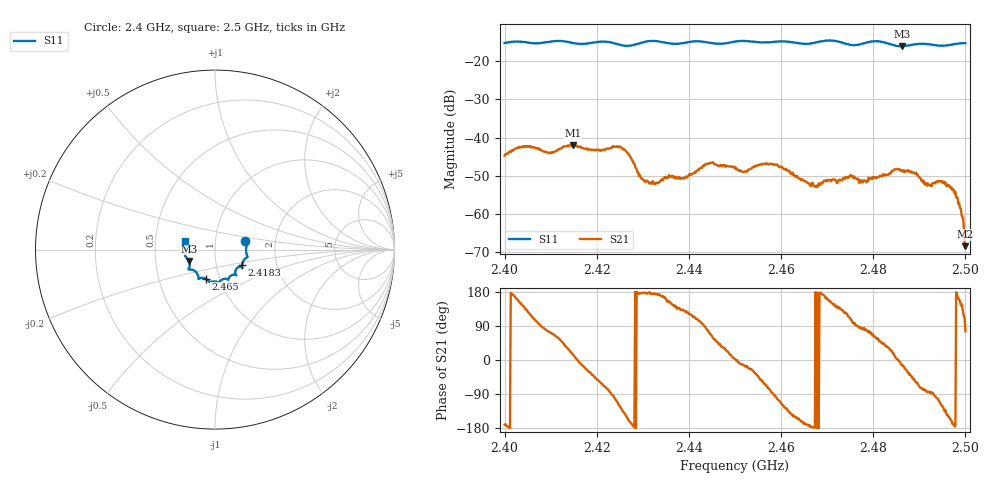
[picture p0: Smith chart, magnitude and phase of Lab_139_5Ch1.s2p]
# Hz S RI R 50
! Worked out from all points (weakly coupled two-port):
!   601 points, 2.4 GHz to 2.5 GHz, reference 50 ohm
!   highest |S21| = -41.96 dB at 2.4148 GHz (marker M1); lowest = -68.6 dB at 2.5 GHz (marker M2)
!   lowest |S11| = -16.0 dB at 2.4862 GHz (marker M3), VSWR 1.37, Z = 37.1 - j4.82 ohm
!   |S11| at or under -10 dB: start of sweep to end of sweep
!   S12 and S22 are empty: the file has one direction only
!   S11 on the Smith chart (normalised r, x): 2.4 GHz: 1.40, +0.13; 2.4183 GHz: 1.33, -0.24; 2.465 GHz: 0.86, -0.29; 2.5 GHz: 0.71, +0.07
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2.4e9  0.1689 0.046  -0.00572 -0.000923  0 0  0 0
2.403833e9  0.1793 0.028  -0.0062 0.00433  0 0  0 0
2.409833e9  0.1786 -0.0338  0.00179 0.00597  0 0  0 0
2.414833e9  0.1668 -0.0515  0.00775 0.00191  0 0  0 0
2.416667e9  0.1554 -0.0685  0.00716 -0.00149  0 0  0 0
2.418333e9  0.15 -0.0871  0.00598 -0.00362  0 0  0 0
2.425333e9  0.1311 -0.0973  -0.00455 -0.00587  0 0  0 0
2.43e9  0.1141 -0.1367  -0.00285 0.000159  0 0  0 0
2.433333e9  0.117 -0.1415  -0.00249 0.000364  0 0  0 0
2.439167e9  0.0773 -0.1581  -0.00184 0.00235  0 0  0 0
2.444667e9  0.0643 -0.163  0.00175 0.00432  0 0  0 0
2.45e9  0.0252 -0.1807  0.00392 0.000152  0 0  0 0
2.458667e9  -0.0222 -0.1801  -0.000236 -0.00442  0 0  0 0
2.465e9  -0.0528 -0.1621  -0.00262 -0.000506  0 0  0 0
2.466667e9  -0.0713 -0.1576  -0.00233 -0.000153  0 0  0 0
2.483333e9  -0.1422 -0.0959  0.0028 0.00178  0 0  0 0
2.486167e9  -0.1446 -0.0634  0.00365 -0.000806  0 0  0 0
2.491667e9  -0.1667 -0.0298  0.000211 -0.00232  0 0  0 0
2.4945e9  -0.1612 -0.00228  -0.00103 -0.00248  0 0  0 0
2.497e9  -0.1639 0.0272  -0.00207 -0.000764  0 0  0 0
2.499e9  -0.1679 0.042  -0.000946 0.000677  0 0  0 0
2.5e9  -0.167 0.047  9.13e-05 0.000362  0 0  0 0
